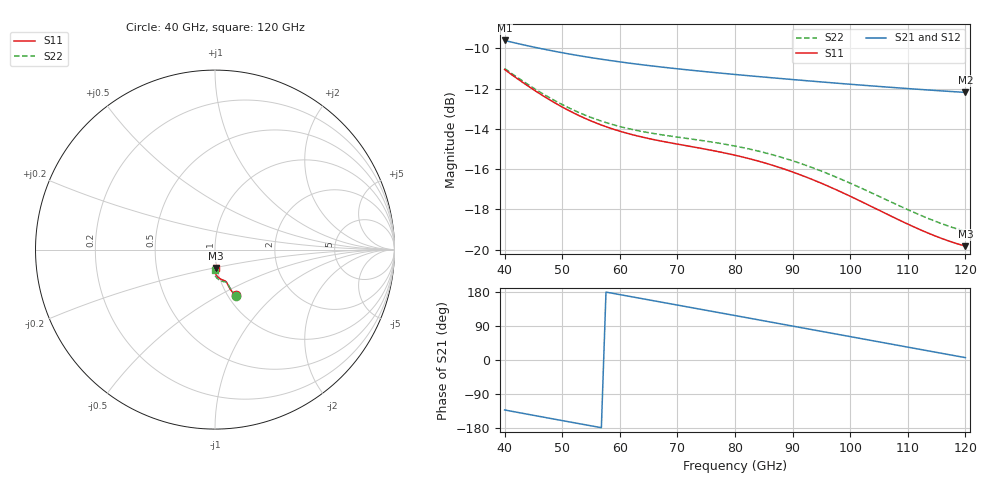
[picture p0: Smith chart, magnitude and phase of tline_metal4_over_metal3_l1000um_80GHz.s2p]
#  GHZ S DB R 50
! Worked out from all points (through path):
!   101 points, 40 GHz to 120 GHz, reference 50 ohm
!   highest |S21| = -9.61 dB at 40 GHz (marker M1); lowest = -12.2 dB at 120 GHz (marker M2)
!   group delay of S21, straight-line fit = 7.7 ps
!   lowest |S11| = -19.8 dB at 120 GHz (marker M3), VSWR 1.23, Z = 49.2 - j10.1 ohm
!   |S11| at or under -10 dB: start of sweep to end of sweep
!   |S22| runs from -19.1 to -11.0 dB; largest |S21 - S12| = 3.1e-13
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40  -11.06 -65.7  -9.61 -131.8  -9.61 -131.8  -11.00 -65.3
43.2  -11.71 -67.4  -9.83 -140.9  -9.83 -140.9  -11.64 -66.9
46.4  -12.31 -68.5  -10.02 -149.8  -10.02 -149.8  -12.22 -68.0
49.6  -12.85 -69.2  -10.20 -158.7  -10.20 -158.7  -12.74 -68.6
53.6  -13.43 -69.7  -10.40 -169.8  -10.40 -169.8  -13.27 -69.1
56.8  -13.81 -70.0  -10.54 -178.6  -10.54 -178.6  -13.62 -69.3
60  -14.12 -70.3  -10.67 172.6  -10.67 172.6  -13.89 -69.6
63.2  -14.36 -70.7  -10.79 163.7  -10.79 163.7  -14.09 -70.1
67.2  -14.61 -71.6  -10.93 152.7  -10.93 152.7  -14.29 -71.0
73.6  -14.94 -73.9  -11.13 135.0  -11.13 135.0  -14.56 -73.6
76.8  -15.12 -75.4  -11.22 126.2  -11.22 126.2  -14.69 -75.2
80  -15.31 -77.2  -11.30 117.3  -11.30 117.3  -14.86 -77.1
83.2  -15.54 -79.1  -11.38 108.4  -11.38 108.4  -15.05 -79.2
86.4  -15.80 -81.1  -11.46 99.5  -11.46 99.5  -15.28 -81.3
89.6  -16.10 -83.0  -11.54 90.6  -11.54 90.6  -15.55 -83.4
93.6  -16.54 -85.3  -11.64 79.5  -11.64 79.5  -15.95 -86.0
96.8  -16.93 -86.9  -11.71 70.6  -11.71 70.6  -16.31 -87.8
100  -17.35 -88.3  -11.79 61.7  -11.79 61.7  -16.70 -89.4
107.2  -18.35 -90.0  -11.94 41.7  -11.94 41.7  -17.65 -91.7
113.6  -19.19 -89.9  -12.07 24.0  -12.07 24.0  -18.46 -92.1
116.8  -19.54 -89.2  -12.13 15.1  -12.13 15.1  -18.80 -91.7
120  -19.83 -88.4  -12.19 6.2  -12.19 6.2  -19.09 -91.1
